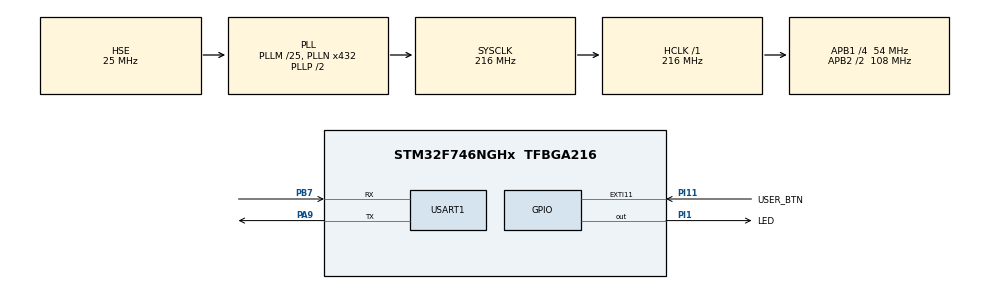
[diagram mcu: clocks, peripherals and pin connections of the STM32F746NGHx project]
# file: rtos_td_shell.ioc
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FREERTOS.Tasks01=defaultTask,0,128,StartDefaultTask,Default,NULL,Dynamic,NULL,NULL
FREERTOS.configTOTAL_HEAP_SIZE=153600
Mcu.Family=STM32F7
Mcu.Name=STM32F746NGHx
Mcu.Package=TFBGA216
NVIC.PriorityGroup=NVIC_PRIORITYGROUP_4
NVIC.TIM6_DAC_IRQn=true\:15\:0\:false\:false\:true\:false\:false\:true\:true
NVIC.TimeBase=TIM6_DAC_IRQn
NVIC.TimeBaseIP=TIM6
NVIC.USART1_IRQn=true\:5\:0\:false\:false\:true\:true\:true\:true\:true
PA13.Mode=Serial_Wire
PA13.Signal=SYS_JTMS-SWDIO
PA14.Mode=Serial_Wire
PA14.Signal=SYS_JTCK-SWCLK
PA9.Mode=Asynchronous
PA9.Signal=USART1_TX
PB7.Mode=Asynchronous
PB7.Signal=USART1_RX
PH0/OSC_IN.Mode=HSE-External-Oscillator
PH0/OSC_IN.Signal=RCC_OSC_IN
PH1/OSC_OUT.Mode=HSE-External-Oscillator
PH1/OSC_OUT.Signal=RCC_OSC_OUT
PI1.GPIO_Label=LED
PI1.Signal=GPIO_Output
PI11.GPIO_Label=USER_BTN
PI11.Signal=GPXTI11
ProjectManager.HeapSize=0x200
ProjectManager.StackSize=0x400
ProjectManager.TargetToolchain=STM32CubeIDE
RCC.AHBFreq_Value=216000000
RCC.APB1CLKDivider=RCC_HCLK_DIV4
RCC.APB1Freq_Value=54000000
RCC.APB1TimFreq_Value=108000000
RCC.APB2CLKDivider=RCC_HCLK_DIV2
RCC.APB2Freq_Value=108000000
RCC.APB2TimFreq_Value=216000000
RCC.CortexFreq_Value=216000000
RCC.HCLKFreq_Value=216000000
RCC.HSE_VALUE=25000000
RCC.HSI_VALUE=16000000
RCC.LSE_VALUE=32768
RCC.PLLM=25
RCC.PLLN=432
RCC.PLLSourceVirtual=RCC_PLLSOURCE_HSE
RCC.SYSCLKFreq_VALUE=216000000
RCC.SYSCLKSource=RCC_SYSCLKSOURCE_PLLCLK
RCC.USBFreq_Value=216000000
RCC.VCOOutputFreq_Value=432000000
USART1.VirtualMode-Asynchronous=VM_ASYNC
VP_FREERTOS_VS_CMSIS_V1.Mode=CMSIS_V1
VP_SYS_VS_tim6.Mode=TIM6
board=STM32F746G-DISCO

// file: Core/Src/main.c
/* USER CODE BEGIN Header */
/**
 ******************************************************************************
 * @file           : main.c
 * @brief          : Main program body
 ******************************************************************************
 * @attention
 *
 * Copyright (c) 2022 STMicroelectronics.
 * All rights reserved.
 *
 * This software is licensed under terms that can be found in the LICENSE file
 * in the root directory of this software component.
 * If no LICENSE file comes with this software, it is provided AS-IS.
 *
 ******************************************************************************
 */
/* USER CODE END Header */
#include "main.h"
#include "cmsis_os.h"
#include "usart.h"
#include "gpio.h"

/* USER CODE BEGIN Includes */
#include <stdio.h>
#include "shell.h"
/* USER CODE END Includes */

/* USER CODE BEGIN PD */
#define PRIORITY_TASK_SHELL 2
#define PRIORITY_TASK_LED 1
/* USER CODE END PD */

/* USER CODE BEGIN PV */
TaskHandle_t handleuart = NULL;
TaskHandle_t handleLED = NULL;
TaskHandle_t handleLEDTest[50]= {NULL};

static int periode = 0;
int flagLED = 0;
/* USER CODE END PV */

void SystemClock_Config(void);
void MX_FREERTOS_Init(void);

/* USER CODE BEGIN 0 */
int __io_putchar(int ch)
{
	HAL_UART_Transmit(&huart1, (uint8_t*)&ch, 1, HAL_MAX_DELAY);

	return ch;
}

void HAL_UART_RxCpltCallback(UART_HandleTypeDef *huart)
{
	BaseType_t woken = pdFALSE;
	if (huart->Instance == USART1)
	{
		vTaskNotifyGiveFromISR( handleuart,&woken );
	}
	portYIELD_FROM_ISR(woken);
}

int fonction(int argc, char ** argv)
{
	printf("Je suis une fonction qui affiche les caractères de l'utilisateur\r\n");

	printf("argc = %d\r\n", argc);
	for (int i = 0; i <argc;i++){
		printf("arg numero %d = %s \r\n",i,argv[i]);
	}

	return 0;
}

int addition(int argc, char ** argv)
{
	if(argc!=3){
		printf("Ne donner que 2 nombres à additionner\r\n");
		return -1;
	}
	else{
		int a = atoi(argv[1]);
		int b = atoi(argv[2]);
		printf("%d + %d = %d \r\n",a,b,a+b);
	}
	return 0;
}

void task_led (void* unused){

	for(;;){

		if(periode != 0){
			HAL_GPIO_TogglePin(LED_GPIO_Port, LED_Pin);
			vTaskDelay(periode);
		}
		else{
			HAL_GPIO_WritePin(LED_GPIO_Port, LED_Pin, GPIO_PIN_RESET);
			flagLED = 0;
			vTaskDelete(0);
		}

	}
}

int led (int argc, char ** argv){

	if (argc != 2){
		printf("trop ou pas assez d'information \r\n");
	}
	else {
		periode = atoi(argv[1]);
		if (flagLED == 0){
		if(xTaskCreate(task_led, "task led", 256, NULL, PRIORITY_TASK_LED, &handleLED)!=pdPASS){
			printf("Error task led\r\n");
			Error_Handler();
		}
		flagLED = 1;
		}
	}
	return 0;
}

void task_shell (void* unused ){
	shell_init();
	shell_add('f', fonction, "Une fonction inutile");
	shell_add('a', addition, "addition");
	shell_add('l',led,"clignotement LED");
	shell_run();

	for(;;){
	}
}

/* USER CODE END 0 */

int main(void)
{

  /* MCU Configuration--------------------------------------------------------*/

  /* Reset of all peripherals, Initializes the Flash interface and the Systick. */
  HAL_Init();

  /* Configure the system clock */
  SystemClock_Config();

  /* Initialize all configured peripherals */
  MX_GPIO_Init();
  MX_USART1_UART_Init();
  /* USER CODE BEGIN 2 */
  	if (xTaskCreate(task_shell,"task_shell",256, NULL, PRIORITY_TASK_SHELL, &handleuart) != pdPASS)
  	{
  		printf("Error task shell\r\n");
  		Error_Handler();
  	}
  	for (int i=0;i<80;i++){
  	  	  		if(xTaskCreate(task_led, "task_led", 256, NULL, PRIORITY_TASK_LED, &handleLEDTest[i])!=pdPASS){
  	  	  			printf("Error task led numero %d \r\n",i);
  	  	  			Error_Handler();
  	  	  		}
  	  	 }

	vTaskStartScheduler();
  /* USER CODE END 2 */

  /* Call init function for freertos objects (in freertos.c) */
  MX_FREERTOS_Init();

  /* Start scheduler */
  osKernelStart();

  /* We should never get here as control is now taken by the scheduler */
  /* Infinite loop */
	while (1)
	{

	}
}

void SystemClock_Config(void)
{
  RCC_OscInitTypeDef RCC_OscInitStruct = {0};
  RCC_ClkInitTypeDef RCC_ClkInitStruct = {0};

  /** Configure the main internal regulator output voltage
  */
  __HAL_RCC_PWR_CLK_ENABLE();
  __HAL_PWR_VOLTAGESCALING_CONFIG(PWR_REGULATOR_VOLTAGE_SCALE1);

  /** Initializes the RCC Oscillators according to the specified parameters
  * in the RCC_OscInitTypeDef structure.
  */
  RCC_OscInitStruct.OscillatorType = RCC_OSCILLATORTYPE_HSE;
  RCC_OscInitStruct.HSEState = RCC_HSE_ON;
  RCC_OscInitStruct.PLL.PLLState = RCC_PLL_ON;
  RCC_OscInitStruct.PLL.PLLSource = RCC_PLLSOURCE_HSE;
  RCC_OscInitStruct.PLL.PLLM = 25;
  RCC_OscInitStruct.PLL.PLLN = 432;
  RCC_OscInitStruct.PLL.PLLP = RCC_PLLP_DIV2;
  RCC_OscInitStruct.PLL.PLLQ = 2;
  if (HAL_RCC_OscConfig(&RCC_OscInitStruct) != HAL_OK)
  {
    Error_Handler();
  }

  /** Activate the Over-Drive mode
  */
  if (HAL_PWREx_EnableOverDrive() != HAL_OK)
  {
    Error_Handler();
  }

  /** Initializes the CPU, AHB and APB buses clocks
  */
  RCC_ClkInitStruct.ClockType = RCC_CLOCKTYPE_HCLK|RCC_CLOCKTYPE_SYSCLK
                              |RCC_CLOCKTYPE_PCLK1|RCC_CLOCKTYPE_PCLK2;
  RCC_ClkInitStruct.SYSCLKSource = RCC_SYSCLKSOURCE_PLLCLK;
  RCC_ClkInitStruct.AHBCLKDivider = RCC_SYSCLK_DIV1;
  RCC_ClkInitStruct.APB1CLKDivider = RCC_HCLK_DIV4;
  RCC_ClkInitStruct.APB2CLKDivider = RCC_HCLK_DIV2;

  if (HAL_RCC_ClockConfig(&RCC_ClkInitStruct, FLASH_LATENCY_7) != HAL_OK)
  {
    Error_Handler();
  }
}

void HAL_TIM_PeriodElapsedCallback(TIM_HandleTypeDef *htim)
{
  if (htim->Instance == TIM6) {
    HAL_IncTick();
  }
}

void Error_Handler(void)
{
	__disable_irq();
	while (1)
	{
	}
}
